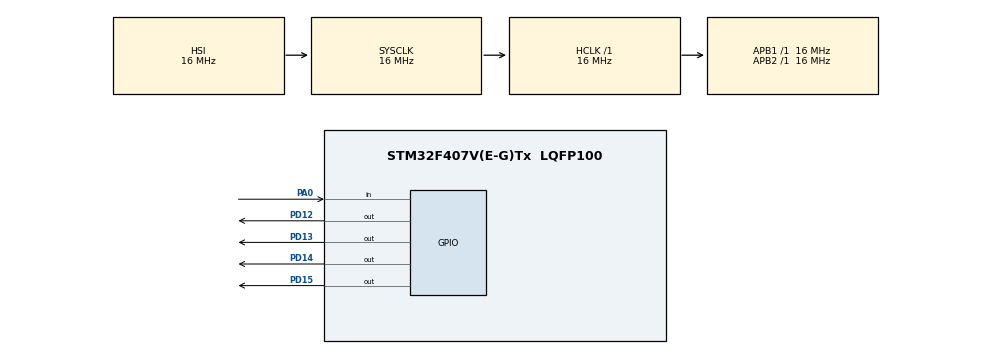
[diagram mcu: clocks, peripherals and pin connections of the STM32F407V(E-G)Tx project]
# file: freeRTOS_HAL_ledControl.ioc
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Mcu.Family=STM32F4
Mcu.Name=STM32F407V(E-G)Tx
Mcu.Package=LQFP100
NVIC.PriorityGroup=NVIC_PRIORITYGROUP_4
PA0-WKUP.Signal=GPIO_Input
PA13.Mode=Serial_Wire
PA13.Signal=SYS_JTMS-SWDIO
PA14.Mode=Serial_Wire
PA14.Signal=SYS_JTCK-SWCLK
PD12.Signal=GPIO_Output
PD13.Signal=GPIO_Output
PD14.Signal=GPIO_Output
PD15.Signal=GPIO_Output
ProjectManager.HeapSize=0x200
ProjectManager.StackSize=0x400
ProjectManager.TargetToolchain=STM32CubeIDE
RCC.AHBFreq_Value=16000000
RCC.APB1Freq_Value=16000000
RCC.APB2Freq_Value=16000000
RCC.CortexFreq_Value=16000000
RCC.HSE_VALUE=25000000
RCC.HSI_VALUE=16000000
RCC.LSE_VALUE=32768
RCC.SYSCLKFreq_VALUE=16000000
RCC.VCOOutputFreq_Value=192000000
board=custom

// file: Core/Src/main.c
/* USER CODE BEGIN Header */
/**
  ******************************************************************************
  * @file           : main.c
  * @brief          : Main program body
  ******************************************************************************
  * @attention
  *
  * Copyright (c) 2022 STMicroelectronics.
  * All rights reserved.
  *
  * This software is licensed under terms that can be found in the LICENSE file
  * in the root directory of this software component.
  * If no LICENSE file comes with this software, it is provided AS-IS.
  *
  ******************************************************************************
  */
/* USER CODE END Header */
#include "main.h"

/* USER CODE BEGIN Includes */
#include "FreeRTOS.h"
#include "task.h"
/* USER CODE END Includes */

/* USER CODE BEGIN PTD */
typedef enum
{
	ms_100,
	ms_250,
	ms_500,
	ms_750,
	ms_1000
}msecTime;

typedef struct
{
	msecTime count;
}ledConf_t;

TaskHandle_t myButtonTaskHandle = NULL;
TaskHandle_t myLedTaskHandle = NULL;

void readButtonStateTask(void *params);
void ledFlashTask(void *params);

ledConf_t ledConf;
/* USER CODE END PTD */

void SystemClock_Config(void);
static void MX_GPIO_Init(void);

int main(void)
{

  /* MCU Configuration--------------------------------------------------------*/

  /* Reset of all peripherals, Initializes the Flash interface and the Systick. */
  HAL_Init();

  /* Configure the system clock */
  SystemClock_Config();

  /* Initialize all configured peripherals */
  MX_GPIO_Init();
  /* USER CODE BEGIN 2 */
  xTaskCreate(readButtonStateTask,
  				"Buton Okuma Görevi",
  				configMINIMAL_STACK_SIZE,
  				NULL,
  				3,
  				&myButtonTaskHandle);

  	xTaskCreate(ledFlashTask,
  				"Led Kontrol Görevi",
  				configMINIMAL_STACK_SIZE,
  				NULL,
  				3,
  				&myLedTaskHandle);

  	vTaskStartScheduler();
  /* USER CODE END 2 */

  /* Infinite loop */
  while (1)
  {

  }
}

void SystemClock_Config(void)
{
  RCC_OscInitTypeDef RCC_OscInitStruct = {0};
  RCC_ClkInitTypeDef RCC_ClkInitStruct = {0};

  /** Configure the main internal regulator output voltage
  */
  __HAL_RCC_PWR_CLK_ENABLE();
  __HAL_PWR_VOLTAGESCALING_CONFIG(PWR_REGULATOR_VOLTAGE_SCALE1);

  /** Initializes the RCC Oscillators according to the specified parameters
  * in the RCC_OscInitTypeDef structure.
  */
  RCC_OscInitStruct.OscillatorType = RCC_OSCILLATORTYPE_HSI;
  RCC_OscInitStruct.HSIState = RCC_HSI_ON;
  RCC_OscInitStruct.HSICalibrationValue = RCC_HSICALIBRATION_DEFAULT;
  RCC_OscInitStruct.PLL.PLLState = RCC_PLL_NONE;
  if (HAL_RCC_OscConfig(&RCC_OscInitStruct) != HAL_OK)
  {
    Error_Handler();
  }

  /** Initializes the CPU, AHB and APB buses clocks
  */
  RCC_ClkInitStruct.ClockType = RCC_CLOCKTYPE_HCLK|RCC_CLOCKTYPE_SYSCLK
                              |RCC_CLOCKTYPE_PCLK1|RCC_CLOCKTYPE_PCLK2;
  RCC_ClkInitStruct.SYSCLKSource = RCC_SYSCLKSOURCE_HSI;
  RCC_ClkInitStruct.AHBCLKDivider = RCC_SYSCLK_DIV1;
  RCC_ClkInitStruct.APB1CLKDivider = RCC_HCLK_DIV1;
  RCC_ClkInitStruct.APB2CLKDivider = RCC_HCLK_DIV1;

  if (HAL_RCC_ClockConfig(&RCC_ClkInitStruct, FLASH_LATENCY_0) != HAL_OK)
  {
    Error_Handler();
  }
}

static void MX_GPIO_Init(void)
{
  GPIO_InitTypeDef GPIO_InitStruct = {0};

  /* GPIO Ports Clock Enable */
  __HAL_RCC_GPIOA_CLK_ENABLE();
  __HAL_RCC_GPIOD_CLK_ENABLE();

  /*Configure GPIO pin Output Level */
  HAL_GPIO_WritePin(GPIOD, GPIO_PIN_12|GPIO_PIN_13|GPIO_PIN_14|GPIO_PIN_15, GPIO_PIN_RESET);

  /*Configure GPIO pin : PA0 */
  GPIO_InitStruct.Pin = GPIO_PIN_0;
  GPIO_InitStruct.Mode = GPIO_MODE_INPUT;
  GPIO_InitStruct.Pull = GPIO_NOPULL;
  HAL_GPIO_Init(GPIOA, &GPIO_InitStruct);

  /*Configure GPIO pins : PD12 PD13 PD14 PD15 */
  GPIO_InitStruct.Pin = GPIO_PIN_12|GPIO_PIN_13|GPIO_PIN_14|GPIO_PIN_15;
  GPIO_InitStruct.Mode = GPIO_MODE_OUTPUT_PP;
  GPIO_InitStruct.Pull = GPIO_NOPULL;
  GPIO_InitStruct.Speed = GPIO_SPEED_FREQ_LOW;
  HAL_GPIO_Init(GPIOD, &GPIO_InitStruct);

}

/* USER CODE BEGIN 4 */
void readButtonStateTask(void *params)
{
	while(1)
	{
		if(HAL_GPIO_ReadPin(GPIOA, GPIO_PIN_0) == GPIO_PIN_SET)
		{
			while(HAL_GPIO_ReadPin(GPIOA, GPIO_PIN_0) == GPIO_PIN_SET);

			if(ledConf.count > ms_1000) ledConf.count = ms_100;
			else ledConf.count++;

		}
	}
}

void ledFlashTask(void *params)
{

	while(1)
	{
		switch (ledConf.count)
		{
			case ms_100:
			{
				HAL_GPIO_TogglePin(GPIOD, GPIO_PIN_12 | GPIO_PIN_13 | GPIO_PIN_14 | GPIO_PIN_15);
				vTaskDelay(100);
				break;
			}
			case ms_250:
			{
				HAL_GPIO_TogglePin(GPIOD, GPIO_PIN_12 | GPIO_PIN_13 | GPIO_PIN_14 | GPIO_PIN_15);
				vTaskDelay(250);
				break;
			}
			case ms_500:
			{
				HAL_GPIO_TogglePin(GPIOD, GPIO_PIN_12 | GPIO_PIN_13 | GPIO_PIN_14 | GPIO_PIN_15);
				vTaskDelay(500);
				break;
			}
			case ms_750:
			{
				HAL_GPIO_TogglePin(GPIOD, GPIO_PIN_12 | GPIO_PIN_13 | GPIO_PIN_14 | GPIO_PIN_15);
				vTaskDelay(750);
				break;
			}
			case ms_1000:
			{
				HAL_GPIO_TogglePin(GPIOD, GPIO_PIN_12 | GPIO_PIN_13 | GPIO_PIN_14 | GPIO_PIN_15);
				vTaskDelay(1000);
				break;
			}
			default:
			{
				HAL_GPIO_WritePin(GPIOD, GPIO_PIN_12 | GPIO_PIN_13 | GPIO_PIN_14 | GPIO_PIN_15, RESET);
				break;
			}
		}

	}
}

/* USER CODE END 4 */

void Error_Handler(void)
{
  __disable_irq();
  while (1)
  {
  }
}
